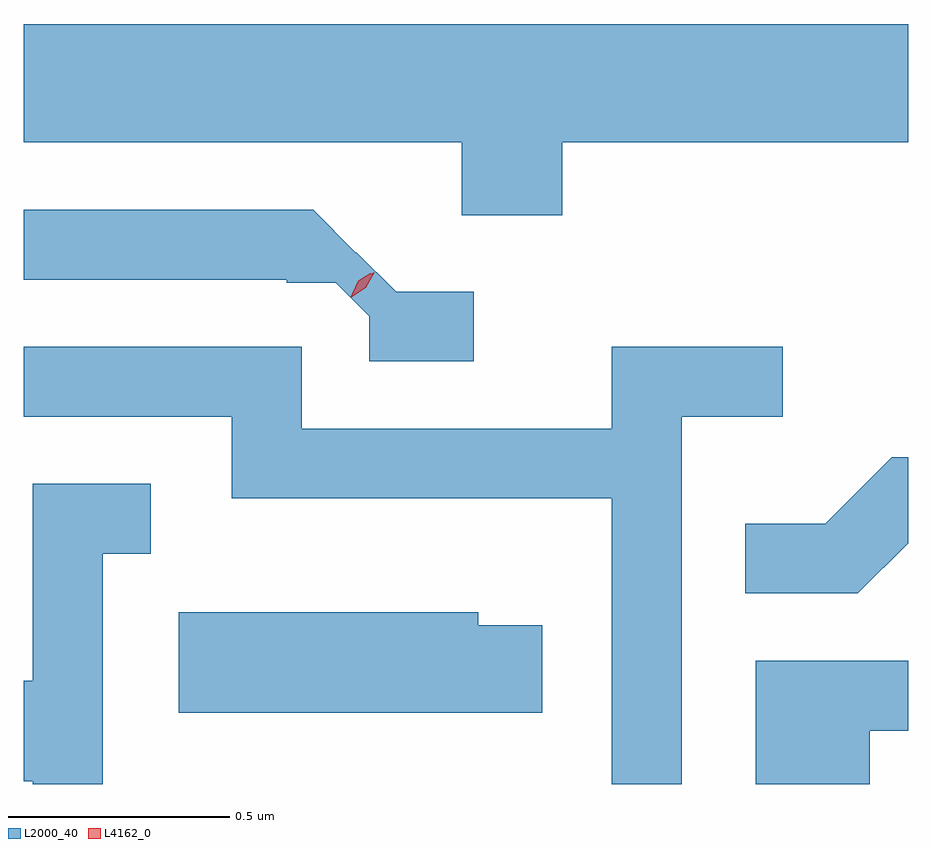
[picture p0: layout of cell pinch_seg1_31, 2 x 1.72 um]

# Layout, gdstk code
import gdstk
lib = gdstk.Library(unit=1e-6, precision=1e-09)
def P(c, l, *ps):  # polygons
    for p in ps: c.add(gdstk.Polygon(p, *l))
L2000_40 = (2000, 40)
L4162_0 = (4162, 0)

pinch_seg1_31 = lib.new_cell('pinch_seg1_31')
P(pinch_seg1_31, L2000_40, [(1762.909,950.636),(1763.691,950.636),(1763.691,950.904),(1761.691,950.904),(1761.691,950.636),(1762.681,950.636),(1762.681,950.471),(1762.909,950.471)],
  [(1762.708,950.298),(1762.533,950.298),(1762.443,950.388),(1762.442,950.387),(1762.345,950.484),(1761.691,950.484),(1761.691,950.326),(1762.285,950.326),(1762.285,950.319),(1762.396,950.319),(1762.472,950.243),(1762.472,950.141),(1762.708,950.141)],
  [(1763.179,950.016),(1763.408,950.016),(1763.408,950.174),(1763.021,950.174),(1763.021,949.989),(1762.319,949.989),(1762.319,950.174),(1761.691,950.174),(1761.691,950.016),(1762.161,950.016),(1762.161,949.831),(1763.021,949.831),(1763.021,949.185),(1763.179,949.185)],
  [(1763.691,949.73),(1763.691,949.924),(1763.654,949.924),(1763.504,949.774),(1763.323,949.774),(1763.323,949.616),(1763.577,949.616)],
  [(1761.869,949.706),(1761.978,949.706),(1761.978,949.864),(1761.711,949.864),(1761.711,949.419),(1761.691,949.419),(1761.691,949.191),(1761.711,949.191),(1761.711,949.185),(1761.869,949.185)],
  [(1762.864,949.544),(1762.719,949.544),(1762.719,949.574),(1762.041,949.574),(1762.041,949.346),(1762.864,949.346)],
  [(1763.604,949.306),(1763.691,949.306),(1763.691,949.464),(1763.346,949.464),(1763.346,949.185),(1763.604,949.185)])
P(pinch_seg1_31, L4162_0, [(1762.43,950.286),(1762.43,950.287),(1762.45,950.321),(1762.483,950.342),(1762.484,950.342),(1762.484,950.341),(1762.464,950.307),(1762.431,950.286)],
  [(1762.434,950.293),(1762.434,950.294),(1762.447,950.323),(1762.474,950.34),(1762.475,950.34),(1762.475,950.339),(1762.462,950.31),(1762.434,950.293)])

lib.write_gds('pinch_seg1_31.gds')
